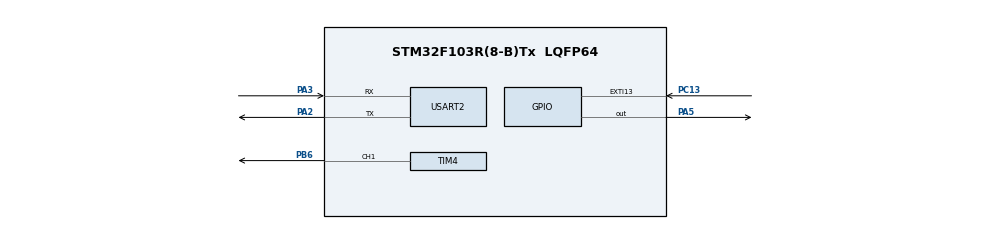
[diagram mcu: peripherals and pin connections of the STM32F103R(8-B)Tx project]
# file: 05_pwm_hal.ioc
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Mcu.Family=STM32F1
Mcu.Name=STM32F103R(8-B)Tx
Mcu.Package=LQFP64
NVIC.EXTI15_10_IRQn=true\:1\:0\:true\:false\:true\:true\:true\:true
NVIC.PriorityGroup=NVIC_PRIORITYGROUP_4
NVIC.TIM2_IRQn=true\:0\:0\:true\:false\:true\:true\:true\:true
NVIC.USART2_IRQn=true\:1\:0\:true\:true\:true\:1\:true\:true\:true
PA2.Mode=Asynchronous
PA2.Signal=USART2_TX
PA3.Mode=Asynchronous
PA3.Signal=USART2_RX
PA5.Signal=GPIO_Output
PB6.Signal=S_TIM4_CH1
PC13-TAMPER-RTC.Signal=GPXTI13
PC14-OSC32_IN.Mode=LSE-External-Oscillator
PC14-OSC32_IN.Signal=RCC_OSC32_IN
PC15-OSC32_OUT.Mode=LSE-External-Oscillator
PC15-OSC32_OUT.Signal=RCC_OSC32_OUT
PD0-OSC_IN.Mode=HSE-External-Oscillator
PD0-OSC_IN.Signal=RCC_OSC_IN
PD1-OSC_OUT.Mode=HSE-External-Oscillator
PD1-OSC_OUT.Signal=RCC_OSC_OUT
ProjectManager.HeapSize=0x200
ProjectManager.StackSize=0x400
ProjectManager.TargetToolchain=STM32CubeIDE
RCC.AHBFreq_Value=8000000
RCC.APB1Freq_Value=8000000
RCC.APB1TimFreq_Value=8000000
RCC.APB2Freq_Value=8000000
RCC.APB2TimFreq_Value=8000000
RCC.HCLKFreq_Value=8000000
RCC.USBFreq_Value=8000000
SH.S_TIM4_CH1.0=TIM4_CH1,PWM Generation1 CH1
TIM2.Period=1000-1
TIM2.Prescaler=4096-1
TIM4.Channel-PWM\ Generation1\ CH1=TIM_CHANNEL_1
TIM4.OC1Preload_PWM=DISABLE
TIM4.Period=40000-1
TIM4.Prescaler=200-1
TIM4.Pulse-PWM\ Generation1\ CH1=20000-1
USART2.VirtualMode=VM_ASYNC
VP_TIM2_VS_ClockSourceINT.Mode=Internal
VP_TIM4_VS_ClockSourceINT.Mode=Internal
board=custom

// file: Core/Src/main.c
/* USER CODE BEGIN Header */
/**
  ******************************************************************************
  * @file           : main.c
  * @brief          : Main program body
  ******************************************************************************
  * @attention
  *
  * Copyright (c) 2023 STMicroelectronics.
  * All rights reserved.
  *
  * This software is licensed under terms that can be found in the LICENSE file
  * in the root directory of this software component.
  * If no LICENSE file comes with this software, it is provided AS-IS.
  *
  ******************************************************************************
  */
/* USER CODE END Header */
#include "main.h"
#include "tim.h"
#include "usart.h"
#include "gpio.h"

/* USER CODE BEGIN PD */
uint8_t rx2_data[10];
/* USER CODE END PD */

void SystemClock_Config(void);
static void MX_NVIC_Init(void);

int main(void)
{

  /* MCU Configuration--------------------------------------------------------*/

  /* Reset of all peripherals, Initializes the Flash interface and the Systick. */
  HAL_Init();

  /* Configure the system clock */
  SystemClock_Config();

  /* Initialize all configured peripherals */
  MX_GPIO_Init();
  MX_USART2_UART_Init();
  MX_TIM2_Init();
  MX_TIM4_Init();

  /* Initialize interrupts */
  MX_NVIC_Init();

  /* Infinite loop */
  /* USER CODE BEGIN WHILE */
  uint8_t a = 'a';
  HAL_UART_Receive_IT(&huart2, &rx2_data, 10); // 인터럽트 수신 대기 함수 -> 10개의 문자가 들어와야 실행
  HAL_TIM_PWM_Start(&htim4, TIM_CHANNEL_1);
  if (HAL_TIM_Base_Start_IT(&htim2) != HAL_OK) // Timer interrupt 를 시작하는 함수
  {
    /* Starting Error */
    Error_Handler();
  }
  while (1)
  {
    /* USER CODE END WHILE */

  }
}

void SystemClock_Config(void)
{
  RCC_OscInitTypeDef RCC_OscInitStruct = {0};
  RCC_ClkInitTypeDef RCC_ClkInitStruct = {0};

  /** Initializes the RCC Oscillators according to the specified parameters
  * in the RCC_OscInitTypeDef structure.
  */
  RCC_OscInitStruct.OscillatorType = RCC_OSCILLATORTYPE_HSI;
  RCC_OscInitStruct.HSIState = RCC_HSI_ON;
  RCC_OscInitStruct.HSICalibrationValue = RCC_HSICALIBRATION_DEFAULT;
  RCC_OscInitStruct.PLL.PLLState = RCC_PLL_NONE;
  if (HAL_RCC_OscConfig(&RCC_OscInitStruct) != HAL_OK)
  {
    Error_Handler();
  }

  /** Initializes the CPU, AHB and APB buses clocks
  */
  RCC_ClkInitStruct.ClockType = RCC_CLOCKTYPE_HCLK|RCC_CLOCKTYPE_SYSCLK
                              |RCC_CLOCKTYPE_PCLK1|RCC_CLOCKTYPE_PCLK2;
  RCC_ClkInitStruct.SYSCLKSource = RCC_SYSCLKSOURCE_HSI;
  RCC_ClkInitStruct.AHBCLKDivider = RCC_SYSCLK_DIV1;
  RCC_ClkInitStruct.APB1CLKDivider = RCC_HCLK_DIV1;
  RCC_ClkInitStruct.APB2CLKDivider = RCC_HCLK_DIV1;

  if (HAL_RCC_ClockConfig(&RCC_ClkInitStruct, FLASH_LATENCY_0) != HAL_OK)
  {
    Error_Handler();
  }
}

/**
  * @brief NVIC Configuration.
  * @retval None
  */
static void MX_NVIC_Init(void)
{
  /* USART2_IRQn interrupt configuration */
  HAL_NVIC_SetPriority(USART2_IRQn, 1, 0);
  HAL_NVIC_EnableIRQ(USART2_IRQn);
}

/* USER CODE BEGIN 4 */
void HAL_GPIO_EXTI_Callback(uint16_t GPIO_Pin)
{
	if (GPIO_Pin = GPIO_PIN_13)
	  {
		HAL_GPIO_TogglePin(GPIOA, GPIO_PIN_5);
	  }
}

void HAL_UART_RxCpltCallback(UART_HandleTypeDef *huart)
{
  if(huart->Instance==USART2){
	  HAL_UART_Receive_IT(&huart2, &rx2_data, 10); // receive interrupt 발생 -> 10개 문자가 들어와야 발생
	  HAL_UART_Transmit(&huart2, &rx2_data, 10, 10); // 전송 -> 10개 문자를 송신
//	  HAL_UART_Transmit_IT(&huart2, &rx2_data, 1);
	  HAL_GPIO_WritePin(GPIOA, GPIO_PIN_5, GPIO_PIN_SET); // LED on
//	  HAL_Delay(100); // delay 는 ms 단위
//	  HAL_GPIO_WritePin(GPIOA, GPIO_PIN_5, GPIO_PIN_RESET); // LED off
//	  HAL_UART_Transmit(&huart2, &rx2_data, 1, 10); // 전송
  }
}

void HAL_TIM_PeriodElapsedCallback(TIM_HandleTypeDef *htim)
{
//	if(htim->Instance==TIM2){ // GPIO EXTI 의 효과를 관찰하기 위해,
//		HAL_GPIO_TogglePin(GPIOA, GPIO_PIN_5); // Timer 인터럽트가 발생하더라도 LED 동작을 하지 않도록 주석처리
//	}

}
/* USER CODE END 4 */

void Error_Handler(void)
{
  __disable_irq();
  while (1)
  {
  }
}
